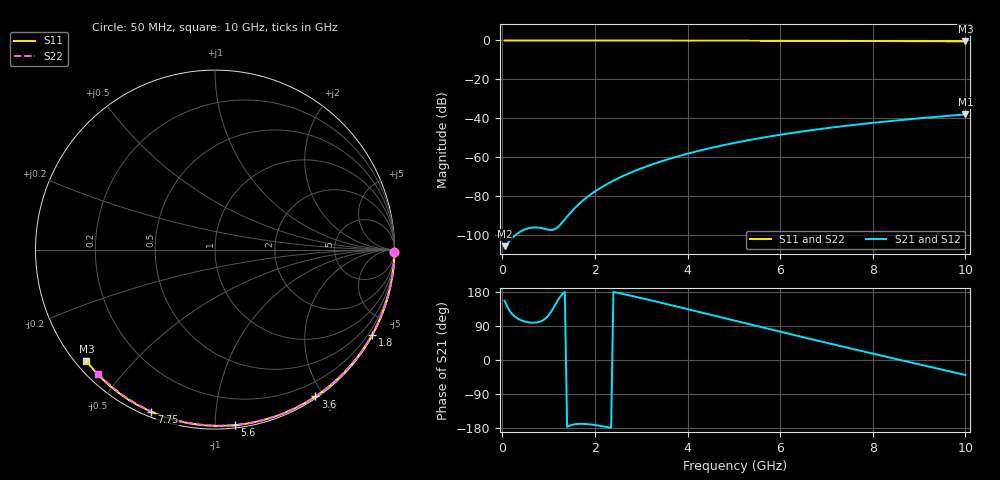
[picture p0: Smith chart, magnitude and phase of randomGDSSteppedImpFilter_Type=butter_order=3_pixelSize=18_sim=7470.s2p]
! freq	dB(S11)	phase(S11)	dB(S12)	phase(S12)
!  dB(S21)	phase(S21)	dB(S22)	phase(S22)
!S-par simulation data
#  GHz  S  DB  R 50
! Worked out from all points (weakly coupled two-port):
!   200 points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, 50 MHz to 10 GHz, reference 50 ohm
!   highest |S21| = -38.05 dB at 10 GHz (marker M1); lowest = -105.7 dB at 50 MHz (marker M2)
!   lowest |S11| = -0.5 dB at 10 GHz (marker M3), VSWR 37.12, Z = 1.53 - j18.6 ohm
!   |S11| at or under -10 dB: nowhere
!   |S22| runs from -0.4 to 0.0 dB; largest |S21 - S12| = 0
!   S11 on the Smith chart (normalised r, x): 50 MHz: open; 1.8 GHz: 0.03, -3.94; 3.6 GHz: 0.02, -1.90; 5.6 GHz: 0.02, -1.12; 7.75 GHz: 0.02, -0.68; 10 GHz: 0.03, -0.37
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0.05  -0.00 -0.8  -105.75 156.3  -105.75 156.3  -0.00 -0.8
0.45  -0.01 -7.2  -97.54 102.9  -97.54 102.9  -0.01 -6.9
0.9  -0.02 -14.4  -96.74 106.6  -96.74 106.6  -0.02 -13.8
1.75  -0.04 -27.7  -82.09 -168.6  -82.09 -168.6  -0.03 -26.6
1.8  -0.04 -28.5  -81.12 -168.9  -81.12 -168.9  -0.03 -27.3
1.85  -0.04 -29.2  -80.19 -169.4  -80.19 -169.4  -0.04 -28.1
2.2  -0.04 -34.6  -74.66 -175.6  -74.66 -175.6  -0.04 -33.2
2.55  -0.05 -40.0  -70.29 175.8  -70.29 175.8  -0.05 -38.4
2.95  -0.06 -46.0  -66.22 164.8  -66.22 164.8  -0.06 -44.2
3.4  -0.07 -52.7  -62.41 151.9  -62.41 151.9  -0.07 -50.6
3.6  -0.07 -55.6  -60.92 146.0  -60.92 146.0  -0.07 -53.4
3.9  -0.08 -60.0  -58.86 137.2  -58.86 137.2  -0.08 -57.6
4.3  -0.09 -65.7  -56.40 125.3  -56.40 125.3  -0.09 -63.1
5.05  -0.12 -76.2  -52.48 103.0  -52.48 103.0  -0.11 -73.2
5.6  -0.14 -83.7  -50.05 86.6  -50.05 86.6  -0.13 -80.4
6.15  -0.16 -91.0  -47.92 70.3  -47.92 70.3  -0.15 -87.4
6.7  -0.19 -98.1  -46.04 54.2  -46.04 54.2  -0.18 -94.3
7.2  -0.22 -104.5  -44.51 39.7  -44.51 39.7  -0.21 -100.4
7.75  -0.26 -111.4  -42.99 23.9  -42.99 23.9  -0.25 -107.1
8.35  -0.30 -118.9  -41.50 6.9  -41.50 6.9  -0.29 -114.2
9.2  -0.38 -129.3  -39.61 -17.0  -39.61 -17.0  -0.37 -124.1
10  -0.47 -139.1  -38.05 -39.6  -38.05 -39.6  -0.45 -133.3
